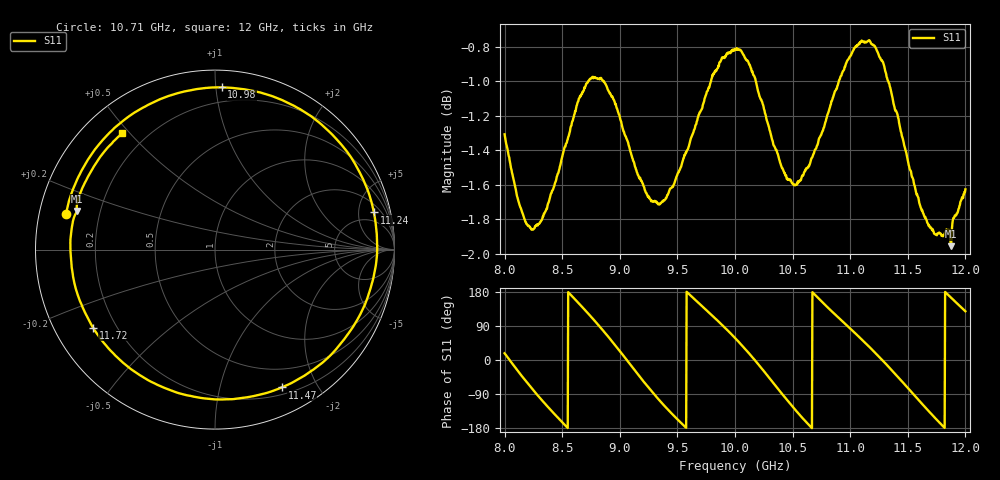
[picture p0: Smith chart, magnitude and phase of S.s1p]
!Keysight Technologies,N5224A,MY56042273,A.10.60.03
!Date: Wednesday, June 05, 2024 12:04:35
!Correction: S11(Full 1 Port(1))
!S1P File: Measurement: S11:
# Hz S  RI  R 50
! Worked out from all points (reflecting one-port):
!   1001 points, 8 GHz to 12 GHz, reference 50 ohm
!   lowest |S11| = -2.0 dB at 11.88 GHz (marker M1), VSWR 8.92, Z = 5.71 + j6.79 ohm
!   phase of S11 starts at 18 deg and turns -1329 deg over the sweep
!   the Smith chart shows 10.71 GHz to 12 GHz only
!   S11 on the Smith chart (normalised r, x): 10.71 GHz: 0.08, +0.12; 10.98 GHz: 0.10, +1.04; 11.24 GHz: 3.10, +7.40; 11.47 GHz: 0.28, -1.56; 11.72 GHz: 0.12, -0.29; 12 GHz: 0.11, +0.48
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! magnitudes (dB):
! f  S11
! 8 GHz  -1.3
! 8.124 GHz  -1.7
! 8.236 GHz  -1.9
! 8.348 GHz  -1.8
! 8.5 GHz  -1.4
! 8.64 GHz  -1.1
! 8.748 GHz  -1.0
! 8.856 GHz  -1.0
! 9 GHz  -1.2
! 9.272 GHz  -1.7
! 9.376 GHz  -1.7
! 9.5 GHz  -1.5
! 9.812 GHz  -1.0
! 10 GHz  -0.8
! 10.13 GHz  -0.9
! 10.4 GHz  -1.5
! 10.5 GHz  -1.6
! 10.71 GHz  -1.4
! 10.98 GHz  -0.9
! 11 GHz  -0.9
! 11.1 GHz  -0.8
! 11.24 GHz  -0.8
! 11.47 GHz  -1.4
! 11.5 GHz  -1.5
! 11.62 GHz  -1.7
! 11.72 GHz  -1.9
! 11.88 GHz  -2.0
! 12 GHz  -1.6
